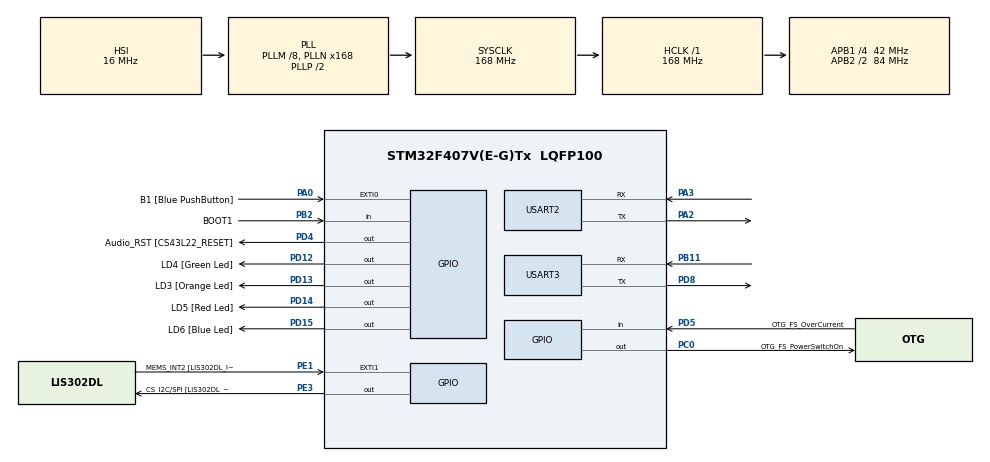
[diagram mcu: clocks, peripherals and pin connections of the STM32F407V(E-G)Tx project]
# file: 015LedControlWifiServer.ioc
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Mcu.Family=STM32F4
Mcu.Name=STM32F407V(E-G)Tx
Mcu.Package=LQFP100
NVIC.PriorityGroup=NVIC_PRIORITYGROUP_4
NVIC.TIM6_DAC_IRQn=true\:0\:0\:false\:false\:true\:false\:true\:true
NVIC.TimeBase=TIM6_DAC_IRQn
NVIC.TimeBaseIP=TIM6
NVIC.USART2_IRQn=true\:6\:0\:true\:false\:true\:true\:true\:true
NVIC.USART3_IRQn=true\:6\:0\:true\:false\:true\:true\:true\:true
PA0-WKUP.GPIO_Label=B1 [Blue PushButton]
PA0-WKUP.Signal=GPXTI0
PA10.GPIO_Label=OTG_FS_ID
PA10.GPIO_Mode=GPIO_MODE_AF_PP
PA10.GPIO_PuPd=GPIO_NOPULL
PA10.GPIO_Speed=GPIO_SPEED_FREQ_LOW
PA10.Signal=USB_OTG_FS_ID
PA11.GPIO_Label=OTG_FS_DM
PA11.GPIO_Mode=GPIO_MODE_AF_PP
PA11.GPIO_PuPd=GPIO_NOPULL
PA11.GPIO_Speed=GPIO_SPEED_FREQ_LOW
PA11.Signal=USB_OTG_FS_DM
PA12.GPIO_Label=OTG_FS_DP
PA12.GPIO_Mode=GPIO_MODE_AF_PP
PA12.GPIO_PuPd=GPIO_NOPULL
PA12.GPIO_Speed=GPIO_SPEED_FREQ_LOW
PA12.Signal=USB_OTG_FS_DP
PA13.GPIO_Label=SWDIO
PA13.Signal=SYS_JTMS-SWDIO
PA14.GPIO_Label=SWCLK
PA14.Signal=SYS_JTCK-SWCLK
PA2.Mode=Asynchronous
PA2.Signal=USART2_TX
PA3.Mode=Asynchronous
PA3.Signal=USART2_RX
PA4.GPIO_Label=I2S3_WS [CS43L22_LRCK]
PA4.GPIO_Mode=GPIO_MODE_AF_PP
PA4.GPIO_PuPd=GPIO_NOPULL
PA4.GPIO_Speed=GPIO_SPEED_FREQ_LOW
PA4.Signal=I2S3_WS
PA5.GPIO_Label=SPI1_SCK [LIS302DL_SCL/SPC]
PA5.GPIO_Mode=GPIO_MODE_AF_PP
PA5.GPIO_PuPd=GPIO_NOPULL
PA5.GPIO_Speed=GPIO_SPEED_FREQ_LOW
PA5.Signal=SPI1_SCK
PA6.GPIO_Label=SPI1_MISO [LIS302DL_SDO]
PA6.GPIO_Mode=GPIO_MODE_AF_PP
PA6.GPIO_PuPd=GPIO_NOPULL
PA6.GPIO_Speed=GPIO_SPEED_FREQ_LOW
PA6.Signal=SPI1_MISO
PA7.GPIO_Label=SPI1_MOSI [LIS302DL_SDA/SDI/SDO]
PA7.GPIO_Mode=GPIO_MODE_AF_PP
PA7.GPIO_PuPd=GPIO_NOPULL
PA7.GPIO_Speed=GPIO_SPEED_FREQ_LOW
PA7.Signal=SPI1_MOSI
PA9.GPIO_Label=VBUS_FS
PA9.GPIO_Mode=GPIO_MODE_INPUT
PA9.GPIO_PuPd=GPIO_NOPULL
PA9.Signal=USB_OTG_FS_VBUS
PB10.GPIO_Label=CLK_IN [MP45DT02_CLK]
PB10.GPIO_Mode=GPIO_MODE_AF_PP
PB10.GPIO_PuPd=GPIO_NOPULL
PB10.GPIO_Speed=GPIO_SPEED_FREQ_LOW
PB10.Signal=I2S2_CK
PB11.Mode=Asynchronous
PB11.Signal=USART3_RX
PB2.GPIO_Label=BOOT1
PB2.GPIO_Mode=GPIO_MODE_INPUT
PB2.GPIO_PuPd=GPIO_NOPULL
PB2.Signal=GPIO_Input
PB3.GPIO_Label=SWO
PB3.Signal=SYS_JTDO-SWO
PB6.GPIO_Label=Audio_SCL [CS43L22_SCL]
PB6.GPIO_Mode=GPIO_MODE_AF_OD
PB6.GPIO_PuPd=GPIO_NOPULL
PB6.GPIO_Speed=GPIO_SPEED_FREQ_LOW
PB6.Signal=I2C1_SCL
PB9.GPIO_Label=Audio_SDA [CS43L22_SDA]
PB9.GPIO_Mode=GPIO_MODE_AF_OD
PB9.GPIO_PuPd=GPIO_NOPULL
PB9.GPIO_Speed=GPIO_SPEED_FREQ_LOW
PB9.Signal=I2C1_SDA
PC0.GPIO_Label=OTG_FS_PowerSwitchOn
PC0.GPIO_PuPd=GPIO_NOPULL
PC0.GPIO_Speed=GPIO_SPEED_FREQ_LOW
PC0.PinState=GPIO_PIN_SET
PC0.Signal=GPIO_Output
PC10.GPIO_Label=I2S3_SCK [CS43L22_SCLK]
PC10.GPIO_Mode=GPIO_MODE_AF_PP
PC10.GPIO_PuPd=GPIO_NOPULL
PC10.GPIO_Speed=GPIO_SPEED_FREQ_LOW
PC10.Signal=I2S3_CK
PC12.GPIO_Label=I2S3_SD [CS43L22_SDIN]
PC12.GPIO_Mode=GPIO_MODE_AF_PP
PC12.GPIO_PuPd=GPIO_NOPULL
PC12.GPIO_Speed=GPIO_SPEED_FREQ_LOW
PC12.Signal=I2S3_SD
PC14-OSC32_IN.GPIO_Label=PC14-OSC32_IN
PC14-OSC32_IN.Signal=RCC_OSC32_IN
PC15-OSC32_OUT.GPIO_Label=PC15-OSC32_OUT
PC15-OSC32_OUT.Signal=RCC_OSC32_OUT
PC3.GPIO_Label=PDM_OUT [MP45DT02_DOUT]
PC3.GPIO_Mode=GPIO_MODE_AF_PP
PC3.GPIO_PuPd=GPIO_NOPULL
PC3.GPIO_Speed=GPIO_SPEED_FREQ_LOW
PC3.Signal=I2S2_SD
PC7.GPIO_Label=I2S3_MCK [CS43L22_MCLK]
PC7.GPIO_Mode=GPIO_MODE_AF_PP
PC7.GPIO_PuPd=GPIO_NOPULL
PC7.GPIO_Speed=GPIO_SPEED_FREQ_LOW
PC7.Signal=I2S3_MCK
PD12.GPIO_Label=LD4 [Green Led]
PD12.GPIO_PuPd=GPIO_NOPULL
PD12.GPIO_Speed=GPIO_SPEED_FREQ_LOW
PD12.Signal=GPIO_Output
PD13.GPIO_Label=LD3 [Orange Led]
PD13.GPIO_PuPd=GPIO_NOPULL
PD13.GPIO_Speed=GPIO_SPEED_FREQ_LOW
PD13.Signal=GPIO_Output
PD14.GPIO_Label=LD5 [Red Led]
PD14.GPIO_PuPd=GPIO_NOPULL
PD14.GPIO_Speed=GPIO_SPEED_FREQ_LOW
PD14.Signal=GPIO_Output
PD15.GPIO_Label=LD6 [Blue Led]
PD15.GPIO_PuPd=GPIO_NOPULL
PD15.GPIO_Speed=GPIO_SPEED_FREQ_LOW
PD15.Signal=GPIO_Output
PD4.GPIO_Label=Audio_RST [CS43L22_RESET]
PD4.GPIO_PuPd=GPIO_NOPULL
PD4.GPIO_Speed=GPIO_SPEED_FREQ_LOW
PD4.Signal=GPIO_Output
PD5.GPIO_Label=OTG_FS_OverCurrent
PD5.GPIO_Mode=GPIO_MODE_INPUT
PD5.GPIO_PuPd=GPIO_NOPULL
PD5.Signal=GPIO_Input
PD8.Mode=Asynchronous
PD8.Signal=USART3_TX
PE1.GPIO_Label=MEMS_INT2 [LIS302DL_INT2]
PE1.GPIO_ModeDefaultEXTI=GPIO_MODE_EVT_RISING
PE1.GPIO_PuPd=GPIO_NOPULL
PE1.Signal=GPXTI1
PE3.GPIO_Label=CS_I2C/SPI [LIS302DL_CS_I2C/SPI]
PE3.GPIO_PuPd=GPIO_NOPULL
PE3.GPIO_Speed=GPIO_SPEED_FREQ_LOW
PE3.Signal=GPIO_Output
PH0-OSC_IN.GPIO_Label=PH0-OSC_IN
PH0-OSC_IN.Signal=RCC_OSC_IN
PH1-OSC_OUT.GPIO_Label=PH1-OSC_OUT
PH1-OSC_OUT.Signal=RCC_OSC_OUT
ProjectManager.HeapSize=0x200
ProjectManager.StackSize=0x400
ProjectManager.TargetToolchain=STM32CubeIDE
RCC.48MHZClocksFreq_Value=48000000
RCC.AHBFreq_Value=168000000
RCC.APB1CLKDivider=RCC_HCLK_DIV4
RCC.APB1Freq_Value=42000000
RCC.APB1TimFreq_Value=84000000
RCC.APB2CLKDivider=RCC_HCLK_DIV2
RCC.APB2Freq_Value=84000000
RCC.APB2TimFreq_Value=168000000
RCC.CortexFreq_Value=168000000
RCC.HCLKFreq_Value=168000000
RCC.HSE_VALUE=8000000
RCC.HSI_VALUE=16000000
RCC.LSE_VALUE=32768
RCC.PLLM=8
RCC.PLLN=168
RCC.PLLQ=7
RCC.SYSCLKFreq_VALUE=168000000
RCC.SYSCLKSource=RCC_SYSCLKSOURCE_PLLCLK
RCC.VCOOutputFreq_Value=336000000
USART2.VirtualMode=VM_ASYNC
USART3.VirtualMode=VM_ASYNC
VP_SYS_VS_tim6.Mode=TIM6
board=STM32F407G-DISC1

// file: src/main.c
/* USER CODE BEGIN Header */
/**
 ******************************************************************************
 * @file           : main.c
 * @brief          : WiFi LED Control via ESP8266 - Main Entry Point
 ******************************************************************************
 * @description
 * STM32F407 LED controller with ESP8266 WiFi interface.
 * Receives LED_CMD: messages via UART from ESP8266 and controls LED patterns.
 *
 * Features:
 * - Efficient interrupt-driven UART (HAL_UART_Receive_IT + Stream Buffer)
 * - TRUE task blocking (task yields CPU when idle)
 * - Simple UART protocol (115200 baud, 8N1)
 * - LED patterns controlled by software timers
 * - Minimal task overhead (single UART task)
 * - Idle hook for low-power sleep mode
 *
 * Architecture:
 * - UART RX ISR → Stream Buffer → UART Task (Priority 2)
 * - Software Timers: Control LED blinking patterns
 * - Task blocks efficiently, wakes instantly on data arrival
 *
 * ESP8266 Connection:
 * - ESP8266 D1 (GPIO5) → STM32 PA3 (USART2 RX)
 * - ESP8266 D2 (GPIO4) → STM32 PA2 (USART2 TX)
 * - ESP8266 GND → STM32 GND
 *
 * Hardware:
 * - USART2 on PA2 (TX) and PA3 (RX)
 * - LED_GREEN (LD4) on PD12
 * - LED_ORANGE (LD3) on PD13
 * - LED_RED (LD5) on PD14
 * - LED_BLUE (LD6) on PD15
 *
 * @attention
 * Copyright (c) 2025 STMicroelectronics.
 * All rights reserved.
 ******************************************************************************
 */
/* USER CODE END Header */
#include "main.h"

/* USER CODE BEGIN Includes */
#include "FreeRTOS.h"
#include "task.h"
#include "timers.h"
#include "led_effects.h"
#include "esp8266_comm_task.h"
#include "print_task.h"
#include "watchdog.h"
#include <string.h>
/* USER CODE END Includes */

UART_HandleTypeDef huart2;
UART_HandleTypeDef huart3;

/* USER CODE BEGIN PV */
#define DWT_CTRL    (*(volatile uint32_t*)0xE0001000)

/* USER CODE END PV */

void SystemClock_Config(void);
static void MX_GPIO_Init(void);
static void MX_USART2_UART_Init(void);
static void MX_USART3_UART_Init(void);

int main(void)
{

  /* USER CODE BEGIN 1 */
	BaseType_t status;
  /* USER CODE END 1 */

  /* MCU Configuration--------------------------------------------------------*/

  /* Reset of all peripherals, Initializes the Flash interface and the Systick. */
  HAL_Init();

  /* Configure the system clock */
  SystemClock_Config();

  /* Initialize all configured peripherals */
  MX_GPIO_Init();
  MX_USART2_UART_Init();
  MX_USART3_UART_Init();
  /* USER CODE BEGIN 2 */

	// === CRITICAL DIAGNOSTIC: LED Blink Test ===
	// If LED blinks: Code is running, UART3 has an issue
	// If LED doesn't blink: System crashes before reaching this point
	// Blink GREEN LED (LD4/PD12) 5 times rapidly
	for (int i = 0; i < 5; i++) {
		HAL_GPIO_WritePin(GPIOD, LD4_Pin, GPIO_PIN_SET);   // LED ON
		HAL_Delay(200);
		HAL_GPIO_WritePin(GPIOD, LD4_Pin, GPIO_PIN_RESET); // LED OFF
		HAL_Delay(200);
	}

	// === UART3 Hardware Test Sequence ===
	// These messages should appear BEFORE FreeRTOS starts
	// If you don't see these, check UART3 wiring and serial terminal settings

	const char *test1 = "\r\n\r\n========================================\r\n";
	HAL_UART_Transmit(&huart3, (uint8_t*)test1, strlen(test1), 1000);

	const char *test2 = "STM32F407 LED Controller Boot Test\r\n";
	HAL_UART_Transmit(&huart3, (uint8_t*)test2, strlen(test2), 1000);

	const char *test3 = "========================================\r\n";
	HAL_UART_Transmit(&huart3, (uint8_t*)test3, strlen(test3), 1000);

	const char *test4 = "[BOOT] UART3 hardware: OK\r\n";
	HAL_UART_Transmit(&huart3, (uint8_t*)test4, strlen(test4), 1000);

	const char *test5 = "[BOOT] System clock: 168 MHz\r\n";
	HAL_UART_Transmit(&huart3, (uint8_t*)test5, strlen(test5), 1000);

	const char *test6 = "[BOOT] UART2 (ESP8266): 115200 baud\r\n";
	HAL_UART_Transmit(&huart3, (uint8_t*)test6, strlen(test6), 1000);

	const char *test7 = "[BOOT] UART3 (Debug): 115200 baud\r\n";
	HAL_UART_Transmit(&huart3, (uint8_t*)test7, strlen(test7), 1000);

	// Enable cycle counter for runtime statistics (optional)
	DWT_CTRL |= ( 1 << 0);

	const char *test8 = "[BOOT] Starting FreeRTOS initialization...\r\n";
	HAL_UART_Transmit(&huart3, (uint8_t*)test8, strlen(test8), 1000);

	// Step 1: Initialize LED effects subsystem
	// Creates software timers for LED pattern control
	led_effects_init();
	const char *msg1 = "[BOOT] LED effects initialized\r\n";
	HAL_UART_Transmit(&huart3, (uint8_t*)msg1, strlen(msg1), 1000);

	// Step 2: Initialize print task for debug logging (UART3)
	// Creates message queue and print task for serial terminal output
	print_task_init();
	const char *msg2 = "[BOOT] Print task initialized\r\n";
	HAL_UART_Transmit(&huart3, (uint8_t*)msg2, strlen(msg2), 1000);

	// Step 3: Initialize ESP8266 communication subsystem (UART2)
	// Creates stream buffer and starts interrupt-driven UART2 reception
	esp8266_comm_task_init();
	const char *msg3 = "[BOOT] ESP8266 comm initialized (stream buffer created)\r\n";
	HAL_UART_Transmit(&huart3, (uint8_t*)msg3, strlen(msg3), 1000);

	// Step 4: Create ESP8266 communication task
	// Receives LED_CMD: and ECHO_PING messages from ESP8266 via stream buffer
	// Stack size: 256 words, Priority: 2
	status = xTaskCreate(esp8266_comm_task_handler, "ESP8266_Comm", 256, NULL, 2, NULL);
	configASSERT(status == pdPASS);
	const char *msg4 = "[BOOT] ESP8266_Comm task created\r\n";
	HAL_UART_Transmit(&huart3, (uint8_t*)msg4, strlen(msg4), 1000);

	// Step 5: Initialize watchdog monitor
	// Creates watchdog task (priority 4) to detect hung/deadlocked tasks
	// Watchdog output goes to UART3 via print_task
	watchdog_init();
	const char *msg5 = "[BOOT] Watchdog initialized\r\n";
	HAL_UART_Transmit(&huart3, (uint8_t*)msg5, strlen(msg5), 1000);

	// Step 6: Start the FreeRTOS scheduler
	// After this point, tasks begin executing and main() never returns
	const char *msg6 = "[BOOT] Starting FreeRTOS scheduler NOW...\r\n";
	HAL_UART_Transmit(&huart3, (uint8_t*)msg6, strlen(msg6), 1000);
	const char *msg7 = "========================================\r\n\r\n";
	HAL_UART_Transmit(&huart3, (uint8_t*)msg7, strlen(msg7), 1000);

	vTaskStartScheduler();

  /* USER CODE END 2 */

  /* Infinite loop */
	while (1)
	{

	}
}

void SystemClock_Config(void)
{
  RCC_OscInitTypeDef RCC_OscInitStruct = {0};
  RCC_ClkInitTypeDef RCC_ClkInitStruct = {0};

  /** Configure the main internal regulator output voltage
  */
  __HAL_RCC_PWR_CLK_ENABLE();
  __HAL_PWR_VOLTAGESCALING_CONFIG(PWR_REGULATOR_VOLTAGE_SCALE1);

  /** Initializes the RCC Oscillators according to the specified parameters
  * in the RCC_OscInitTypeDef structure.
  */
  RCC_OscInitStruct.OscillatorType = RCC_OSCILLATORTYPE_HSI;
  RCC_OscInitStruct.HSIState = RCC_HSI_ON;
  RCC_OscInitStruct.HSICalibrationValue = RCC_HSICALIBRATION_DEFAULT;
  RCC_OscInitStruct.PLL.PLLState = RCC_PLL_ON;
  RCC_OscInitStruct.PLL.PLLSource = RCC_PLLSOURCE_HSI;
  RCC_OscInitStruct.PLL.PLLM = 8;
  RCC_OscInitStruct.PLL.PLLN = 168;
  RCC_OscInitStruct.PLL.PLLP = RCC_PLLP_DIV2;
  RCC_OscInitStruct.PLL.PLLQ = 7;
  if (HAL_RCC_OscConfig(&RCC_OscInitStruct) != HAL_OK)
  {
    Error_Handler();
  }

  /** Initializes the CPU, AHB and APB buses clocks
  */
  RCC_ClkInitStruct.ClockType = RCC_CLOCKTYPE_HCLK|RCC_CLOCKTYPE_SYSCLK
                              |RCC_CLOCKTYPE_PCLK1|RCC_CLOCKTYPE_PCLK2;
  RCC_ClkInitStruct.SYSCLKSource = RCC_SYSCLKSOURCE_PLLCLK;
  RCC_ClkInitStruct.AHBCLKDivider = RCC_SYSCLK_DIV1;
  RCC_ClkInitStruct.APB1CLKDivider = RCC_HCLK_DIV4;
  RCC_ClkInitStruct.APB2CLKDivider = RCC_HCLK_DIV2;

  if (HAL_RCC_ClockConfig(&RCC_ClkInitStruct, FLASH_LATENCY_5) != HAL_OK)
  {
    Error_Handler();
  }
}

static void MX_USART2_UART_Init(void)
{

  huart2.Instance = USART2;
  huart2.Init.BaudRate = 115200;
  huart2.Init.WordLength = UART_WORDLENGTH_8B;
  huart2.Init.StopBits = UART_STOPBITS_1;
  huart2.Init.Parity = UART_PARITY_NONE;
  huart2.Init.Mode = UART_MODE_TX_RX;
  huart2.Init.HwFlowCtl = UART_HWCONTROL_NONE;
  huart2.Init.OverSampling = UART_OVERSAMPLING_16;
  if (HAL_UART_Init(&huart2) != HAL_OK)
  {
    Error_Handler();
  }

}

static void MX_USART3_UART_Init(void)
{

  huart3.Instance = USART3;
  huart3.Init.BaudRate = 115200;
  huart3.Init.WordLength = UART_WORDLENGTH_8B;
  huart3.Init.StopBits = UART_STOPBITS_1;
  huart3.Init.Parity = UART_PARITY_NONE;
  huart3.Init.Mode = UART_MODE_TX_RX;
  huart3.Init.HwFlowCtl = UART_HWCONTROL_NONE;
  huart3.Init.OverSampling = UART_OVERSAMPLING_16;
  if (HAL_UART_Init(&huart3) != HAL_OK)
  {
    Error_Handler();
  }

}

static void MX_GPIO_Init(void)
{
  GPIO_InitTypeDef GPIO_InitStruct = {0};

  /* GPIO Ports Clock Enable */
  __HAL_RCC_GPIOE_CLK_ENABLE();
  __HAL_RCC_GPIOC_CLK_ENABLE();
  __HAL_RCC_GPIOH_CLK_ENABLE();
  __HAL_RCC_GPIOA_CLK_ENABLE();
  __HAL_RCC_GPIOB_CLK_ENABLE();
  __HAL_RCC_GPIOD_CLK_ENABLE();

  /*Configure GPIO pin Output Level */
  HAL_GPIO_WritePin(CS_I2C_SPI_GPIO_Port, CS_I2C_SPI_Pin, GPIO_PIN_RESET);

  /*Configure GPIO pin Output Level */
  HAL_GPIO_WritePin(OTG_FS_PowerSwitchOn_GPIO_Port, OTG_FS_PowerSwitchOn_Pin, GPIO_PIN_SET);

  /*Configure GPIO pin Output Level */
  HAL_GPIO_WritePin(GPIOD, LD4_Pin|LD3_Pin|LD5_Pin|LD6_Pin
                          |Audio_RST_Pin, GPIO_PIN_RESET);

  /*Configure GPIO pin : CS_I2C_SPI_Pin */
  GPIO_InitStruct.Pin = CS_I2C_SPI_Pin;
  GPIO_InitStruct.Mode = GPIO_MODE_OUTPUT_PP;
  GPIO_InitStruct.Pull = GPIO_NOPULL;
  GPIO_InitStruct.Speed = GPIO_SPEED_FREQ_LOW;
  HAL_GPIO_Init(CS_I2C_SPI_GPIO_Port, &GPIO_InitStruct);

  /*Configure GPIO pin : OTG_FS_PowerSwitchOn_Pin */
  GPIO_InitStruct.Pin = OTG_FS_PowerSwitchOn_Pin;
  GPIO_InitStruct.Mode = GPIO_MODE_OUTPUT_PP;
  GPIO_InitStruct.Pull = GPIO_NOPULL;
  GPIO_InitStruct.Speed = GPIO_SPEED_FREQ_LOW;
  HAL_GPIO_Init(OTG_FS_PowerSwitchOn_GPIO_Port, &GPIO_InitStruct);

  /*Configure GPIO pin : PDM_OUT_Pin */
  GPIO_InitStruct.Pin = PDM_OUT_Pin;
  GPIO_InitStruct.Mode = GPIO_MODE_AF_PP;
  GPIO_InitStruct.Pull = GPIO_NOPULL;
  GPIO_InitStruct.Speed = GPIO_SPEED_FREQ_LOW;
  GPIO_InitStruct.Alternate = GPIO_AF5_SPI2;
  HAL_GPIO_Init(PDM_OUT_GPIO_Port, &GPIO_InitStruct);

  /*Configure GPIO pin : B1_Pin */
  GPIO_InitStruct.Pin = B1_Pin;
  GPIO_InitStruct.Mode = GPIO_MODE_IT_RISING;
  GPIO_InitStruct.Pull = GPIO_NOPULL;
  HAL_GPIO_Init(B1_GPIO_Port, &GPIO_InitStruct);

  /*Configure GPIO pin : I2S3_WS_Pin */
  GPIO_InitStruct.Pin = I2S3_WS_Pin;
  GPIO_InitStruct.Mode = GPIO_MODE_AF_PP;
  GPIO_InitStruct.Pull = GPIO_NOPULL;
  GPIO_InitStruct.Speed = GPIO_SPEED_FREQ_LOW;
  GPIO_InitStruct.Alternate = GPIO_AF6_SPI3;
  HAL_GPIO_Init(I2S3_WS_GPIO_Port, &GPIO_InitStruct);

  /*Configure GPIO pins : SPI1_SCK_Pin SPI1_MISO_Pin SPI1_MOSI_Pin */
  GPIO_InitStruct.Pin = SPI1_SCK_Pin|SPI1_MISO_Pin|SPI1_MOSI_Pin;
  GPIO_InitStruct.Mode = GPIO_MODE_AF_PP;
  GPIO_InitStruct.Pull = GPIO_NOPULL;
  GPIO_InitStruct.Speed = GPIO_SPEED_FREQ_LOW;
  GPIO_InitStruct.Alternate = GPIO_AF5_SPI1;
  HAL_GPIO_Init(GPIOA, &GPIO_InitStruct);

  /*Configure GPIO pin : BOOT1_Pin */
  GPIO_InitStruct.Pin = BOOT1_Pin;
  GPIO_InitStruct.Mode = GPIO_MODE_INPUT;
  GPIO_InitStruct.Pull = GPIO_NOPULL;
  HAL_GPIO_Init(BOOT1_GPIO_Port, &GPIO_InitStruct);

  /*Configure GPIO pin : CLK_IN_Pin */
  GPIO_InitStruct.Pin = CLK_IN_Pin;
  GPIO_InitStruct.Mode = GPIO_MODE_AF_PP;
  GPIO_InitStruct.Pull = GPIO_NOPULL;
  GPIO_InitStruct.Speed = GPIO_SPEED_FREQ_LOW;
  GPIO_InitStruct.Alternate = GPIO_AF5_SPI2;
  HAL_GPIO_Init(CLK_IN_GPIO_Port, &GPIO_InitStruct);

  /*Configure GPIO pins : LD4_Pin LD3_Pin LD5_Pin LD6_Pin
                           Audio_RST_Pin */
  GPIO_InitStruct.Pin = LD4_Pin|LD3_Pin|LD5_Pin|LD6_Pin
                          |Audio_RST_Pin;
  GPIO_InitStruct.Mode = GPIO_MODE_OUTPUT_PP;
  GPIO_InitStruct.Pull = GPIO_NOPULL;
  GPIO_InitStruct.Speed = GPIO_SPEED_FREQ_LOW;
  HAL_GPIO_Init(GPIOD, &GPIO_InitStruct);

  /*Configure GPIO pins : I2S3_MCK_Pin I2S3_SCK_Pin I2S3_SD_Pin */
  GPIO_InitStruct.Pin = I2S3_MCK_Pin|I2S3_SCK_Pin|I2S3_SD_Pin;
  GPIO_InitStruct.Mode = GPIO_MODE_AF_PP;
  GPIO_InitStruct.Pull = GPIO_NOPULL;
  GPIO_InitStruct.Speed = GPIO_SPEED_FREQ_LOW;
  GPIO_InitStruct.Alternate = GPIO_AF6_SPI3;
  HAL_GPIO_Init(GPIOC, &GPIO_InitStruct);

  /*Configure GPIO pin : VBUS_FS_Pin */
  GPIO_InitStruct.Pin = VBUS_FS_Pin;
  GPIO_InitStruct.Mode = GPIO_MODE_INPUT;
  GPIO_InitStruct.Pull = GPIO_NOPULL;
  HAL_GPIO_Init(VBUS_FS_GPIO_Port, &GPIO_InitStruct);

  /*Configure GPIO pins : OTG_FS_ID_Pin OTG_FS_DM_Pin OTG_FS_DP_Pin */
  GPIO_InitStruct.Pin = OTG_FS_ID_Pin|OTG_FS_DM_Pin|OTG_FS_DP_Pin;
  GPIO_InitStruct.Mode = GPIO_MODE_AF_PP;
  GPIO_InitStruct.Pull = GPIO_NOPULL;
  GPIO_InitStruct.Speed = GPIO_SPEED_FREQ_LOW;
  GPIO_InitStruct.Alternate = GPIO_AF10_OTG_FS;
  HAL_GPIO_Init(GPIOA, &GPIO_InitStruct);

  /*Configure GPIO pin : OTG_FS_OverCurrent_Pin */
  GPIO_InitStruct.Pin = OTG_FS_OverCurrent_Pin;
  GPIO_InitStruct.Mode = GPIO_MODE_INPUT;
  GPIO_InitStruct.Pull = GPIO_NOPULL;
  HAL_GPIO_Init(OTG_FS_OverCurrent_GPIO_Port, &GPIO_InitStruct);

  /*Configure GPIO pins : Audio_SCL_Pin Audio_SDA_Pin */
  GPIO_InitStruct.Pin = Audio_SCL_Pin|Audio_SDA_Pin;
  GPIO_InitStruct.Mode = GPIO_MODE_AF_OD;
  GPIO_InitStruct.Pull = GPIO_NOPULL;
  GPIO_InitStruct.Speed = GPIO_SPEED_FREQ_LOW;
  GPIO_InitStruct.Alternate = GPIO_AF4_I2C1;
  HAL_GPIO_Init(GPIOB, &GPIO_InitStruct);

  /*Configure GPIO pin : MEMS_INT2_Pin */
  GPIO_InitStruct.Pin = MEMS_INT2_Pin;
  GPIO_InitStruct.Mode = GPIO_MODE_EVT_RISING;
  GPIO_InitStruct.Pull = GPIO_NOPULL;
  HAL_GPIO_Init(MEMS_INT2_GPIO_Port, &GPIO_InitStruct);

}

/* USER CODE BEGIN 4 */

/**
 * @brief  FreeRTOS Idle Hook - Called when no tasks are ready to run
 * @note   This function is called on each iteration of the idle task loop
 * @retval None
 *
 * Power Saving Strategy:
 * - Puts MCU into SLEEP mode using WFI (Wait For Interrupt)
 * - CPU clock stops, but peripherals continue running
 * - Main voltage regulator stays ON for fast wake-up
 * - Automatically wakes up on ANY interrupt:
 *   * SysTick (every 1ms for FreeRTOS tick)
 *   * UART RX interrupt (when character received)
 *   * Timer interrupts (for software timers)
 *
 * Benefits:
 * - Reduces power consumption during idle periods
 * - No impact on responsiveness (wake-up is instant)
 * - All peripherals remain functional
 */
void vApplicationIdleHook(void)
{
	// Enter SLEEP mode - CPU stops, peripherals run
	// Wake-up time: ~1 CPU cycle (instant)
	HAL_PWR_EnterSLEEPMode(PWR_MAINREGULATOR_ON, PWR_SLEEPENTRY_WFI);
}
/* USER CODE END 4 */

void HAL_TIM_PeriodElapsedCallback(TIM_HandleTypeDef *htim)
{
  if (htim->Instance == TIM6)
  {
    HAL_IncTick();
  }
}

void Error_Handler(void)
{
	__disable_irq();
	while (1)
	{
	}
}
